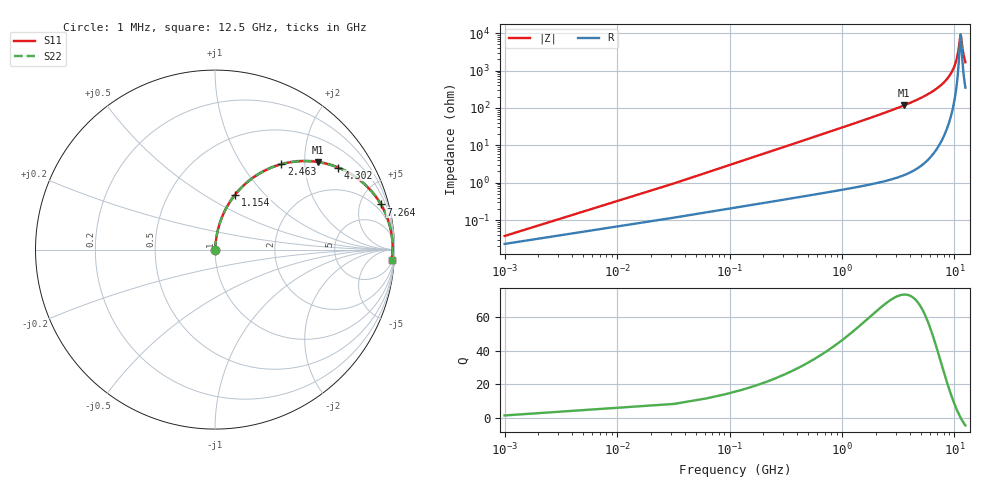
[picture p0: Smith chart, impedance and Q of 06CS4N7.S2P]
! Coilcraft 0603CS-4N7 Chip Inductor
! 21 May 2002
# MHZ S MA R 50
!Freq  MagS11  AngS11  MagS21  AngS21  MagS12  AngS12  MagS22  AngS22
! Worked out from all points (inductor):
!   402 points, 1 MHz to 12.5 GHz, reference 50 ohm
!   read as one part in series: L = 4.7 nH near 63.34 MHz
!   highest Q = 73.6 at 3.554 GHz (marker M1), where L = 5.21 nH
!   self-resonance near 11.32 GHz
!   S11 on the Smith chart (normalised r, x): 1 MHz: 1.00, +0.00; 1.154 GHz: 1.01, +0.69; 2.463 GHz: 1.02, +1.53; 4.302 GHz: 1.04, +2.97; 7.264 GHz: 1.20, +7.28; 12.5 GHz: 8, -33
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1  0.0003736 52.2  0.9998 -0.0  0.9998 -0.0  0.0003736 52.2
94.51  0.02792 84.4  0.9977 -1.6  0.9977 -1.6  0.02792 84.4
156.85  0.04623 84.2  0.9964 -2.6  0.9964 -2.6  0.04623 84.2
219.19  0.06449 83.7  0.995 -3.7  0.995 -3.7  0.06449 83.7
375.04  0.1098 81.7  0.9901 -6.3  0.9901 -6.3  0.1098 81.7
562.06  0.1634 79.0  0.9819 -9.4  0.9819 -9.4  0.1634 79.0
1154.29  0.3237 70.0  0.9396 -18.9  0.9396 -18.9  0.3237 70.0
2089.39  0.5346 56.8  0.8369 -32.3  0.8369 -32.3  0.5346 56.8
2463.43  0.6027 52.1  0.7892 -37.1  0.7892 -37.1  0.6027 52.1
3554.38  0.7536 40.3  0.6472 -48.9  0.6472 -48.9  0.7536 40.3
4177.78  0.8139 34.7  0.5699 -54.5  0.5699 -54.5  0.8139 34.7
4302.46  0.8241 33.7  0.5551 -55.5  0.5551 -55.5  0.8241 33.7
6266.17  0.9303 20.4  0.349 -68.5  0.349 -68.5  0.9303 20.4
7263.61  0.9578 15.2  0.2631 -73.2  0.2631 -73.2  0.9578 15.2
8354.56  0.9759 10.4  0.1806 -77.2  0.1806 -77.2  0.9759 10.4
9601.36  0.9865 5.6  0.0985 -79.3  0.0985 -79.3  0.9865 5.6
10442.95  0.9892 2.8  0.0493 -76.0  0.0493 -76.0  0.9892 2.8
10848.16  0.9896 1.5  0.02773 -67.2  0.02773 -67.2  0.9896 1.5
11222.2  0.9894 0.3  0.01205 -28.4  0.01205 -28.4  0.9894 0.3
11346.88  0.9893 -0.0  0.01076 3.9  0.01076 3.9  0.9893 -0.0
11939.11  0.988 -1.8  0.03285 67.7  0.03285 67.7  0.988 -1.8
12500  0.986 -3.3  0.0591 74.6  0.0591 74.6  0.986 -3.3
